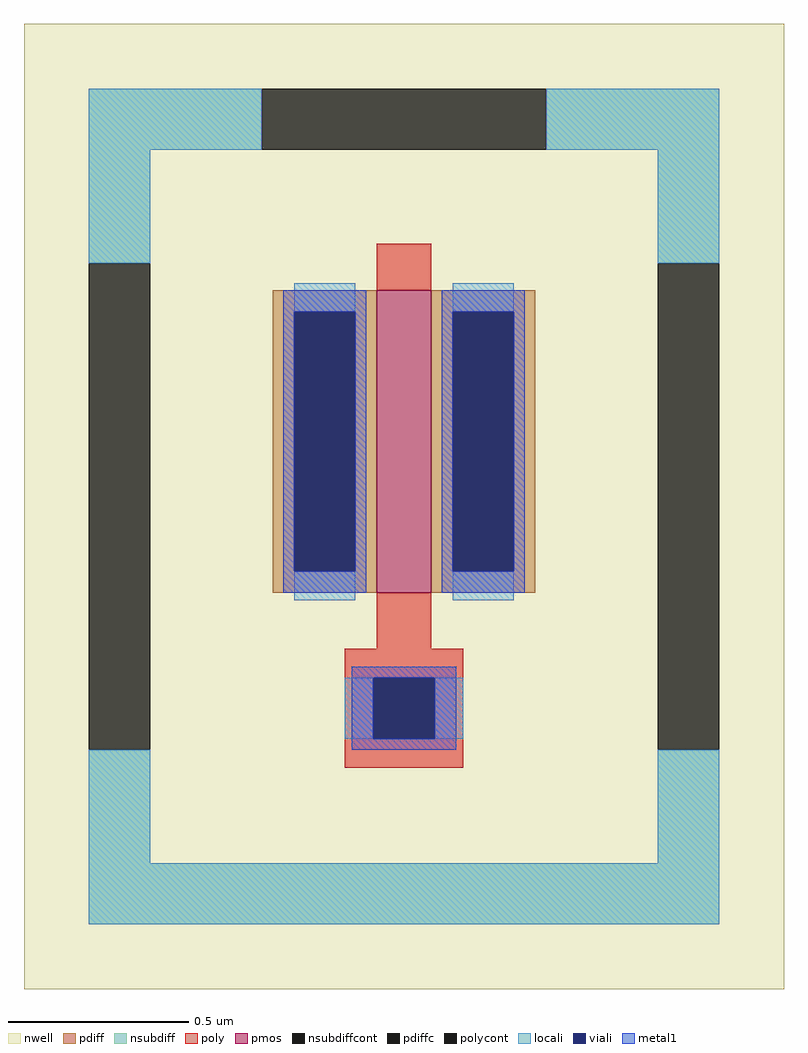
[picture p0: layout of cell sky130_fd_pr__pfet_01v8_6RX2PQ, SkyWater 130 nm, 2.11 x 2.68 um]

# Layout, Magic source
magic
tech sky130A
magscale 1 2
<< nwell >>
rect -211 -268 211 268
<< pmos >>
rect -15 -48 15 120
<< pdiff >>
rect -73 108 -15 120
rect -73 -36 -61 108
rect -27 -36 -15 108
rect -73 -48 -15 -36
rect 15 108 73 120
rect 15 -36 27 108
rect 61 -36 73 108
rect 15 -48 73 -36
<< pdiffc >>
rect -61 -36 -27 108
rect 27 -36 61 108
<< nsubdiff >>
rect -175 198 -79 232
rect 79 198 175 232
rect -175 135 -141 198
rect 141 135 175 198
rect -175 -198 -141 -135
rect 141 -198 175 -135
rect -175 -232 175 -198
<< nsubdiffcont >>
rect -79 198 79 232
rect -175 -135 -141 135
rect 141 -135 175 135
<< poly >>
rect -15 120 15 146
rect -15 -79 15 -48
rect -33 -95 33 -79
rect -33 -129 -17 -95
rect 17 -129 33 -95
rect -33 -145 33 -129
<< polycont >>
rect -17 -129 17 -95
<< locali >>
rect -175 198 -79 232
rect 79 198 175 232
rect -175 135 -141 198
rect 141 135 175 198
rect -61 108 -27 124
rect -61 -52 -27 -36
rect 27 108 61 124
rect 27 -52 61 -36
rect -33 -129 -17 -95
rect 17 -129 33 -95
rect -175 -198 -141 -135
rect 141 -198 175 -135
rect -175 -232 175 -198
<< viali >>
rect -61 -36 -27 108
rect 27 -36 61 108
rect -17 -129 17 -95
<< metal1 >>
rect -67 108 -21 120
rect -67 -36 -61 108
rect -27 -36 -21 108
rect -67 -48 -21 -36
rect 21 108 67 120
rect 21 -36 27 108
rect 61 -36 67 108
rect 21 -48 67 -36
rect -29 -95 29 -89
rect -29 -129 -17 -95
rect 17 -129 29 -95
rect -29 -135 29 -129
<< properties >>
string gencell sky130_fd_pr__pfet_01v8
string FIXED_BBOX -158 -215 158 215
string parameters w 0.84 l 0.15 m 1 nf 1 diffcov 100 polycov 100 guard 1 glc 1 grc 1 gtc 1 gbc 0 tbcov 100 rlcov 100 topc 0 botc 1 poverlap 0 doverlap 1 lmin 0.15 wmin 0.42 compatible {sky130_fd_pr__pfet_01v8  sky130_fd_pr__pfet_01v8_lvt sky130_fd_pr__pfet_01v8_hvt  sky130_fd_pr__pfet_g5v0d10v5} full_metal 1 viasrc 100 viadrn 100 viagate 100 viagb 0 viagr 0 viagl 0 viagt 0
string library sky130
<< end >>
